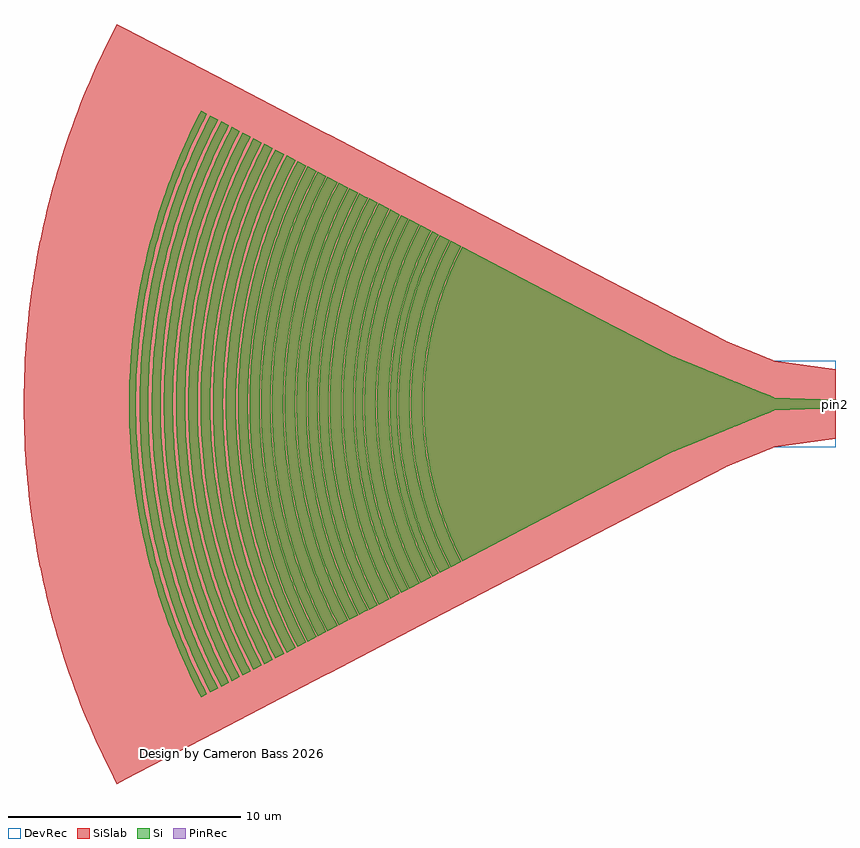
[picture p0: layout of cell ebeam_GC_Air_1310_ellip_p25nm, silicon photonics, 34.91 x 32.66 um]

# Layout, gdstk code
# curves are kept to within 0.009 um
import gdstk
lib = gdstk.Library(unit=1e-6, precision=1e-09)
def P(c, l, *ps):  # polygons
    for p in ps: c.add(gdstk.Polygon(p, *l))
Si = (1, 0)
PinRec = (1, 10)
SiSlab = (2, 0)
DevRec = (68, 0)

ebeam_gc_air_1310_ellip_ = lib.new_cell('ebeam_GC_Air_1310_ellip_p25nm')
P(ebeam_gc_air_1310_ellip_, Si, [(-16.059,-6.75),(-16.433,-5.979),(-16.807,-5.062),(-17.037,-4.392),(-17.302,-3.437),(-17.479,-2.605),(-17.606,-1.766),(-17.684,-0.92),(-17.712,-0.071),(-17.684,0.92),(-17.606,1.766),(-17.479,2.606),(-17.302,3.437),(-17.037,4.392),(-16.807,5.062),(-16.433,5.979),(-16.059,6.75),(-7.112,2.092),(-2.648,0.275),(0,0.175),(0,-0.175),(-2.657,-0.277),(-2.836,-0.36),(-3.189,-0.492),(-7.112,-2.092)],
  [(-16.551,-7.005),(-16.936,-6.209),(-17.273,-5.394),(-17.563,-4.56),(-17.803,-3.712),(-17.995,-2.851),(-18.135,-1.979),(-18.234,-0.956),(-18.264,-0.073),(-18.243,0.808),(-18.153,1.834),(-18.022,2.706),(-17.838,3.569),(-17.729,3.997),(-17.563,4.56),(-17.273,5.394),(-16.936,6.209),(-16.551,7.006),(-16.103,6.773),(-16.478,6),(-16.805,5.212),(-17.084,4.407),(-17.317,3.587),(-17.446,3.034),(-17.527,2.615),(-17.655,1.772),(-17.742,0.781),(-17.762,0.071),(-17.742,-0.781),(-17.655,-1.772),(-17.527,-2.615),(-17.351,-3.449),(-17.084,-4.408),(-16.805,-5.212),(-16.478,-6),(-16.103,-6.773)],
  [(-17.032,-7.256),(-17.43,-6.433),(-17.779,-5.589),(-18.079,-4.725),(-18.328,-3.846),(-18.526,-2.954),(-18.671,-2.051),(-18.764,-1.142),(-18.791,-0.685),(-18.805,-0.076),(-18.783,0.837),(-18.708,1.749),(-18.629,2.353),(-18.554,2.803),(-18.364,3.698),(-18.21,4.288),(-18.079,4.725),(-17.779,5.589),(-17.43,6.433),(-17.032,7.256),(-16.594,7.029),(-16.795,6.631),(-17.041,6.095),(-17.372,5.274),(-17.654,4.435),(-17.888,3.581),(-18.07,2.715),(-18.203,1.84),(-18.284,0.958),(-18.314,0.074),(-18.293,-0.81),(-18.203,-1.84),(-18.07,-2.716),(-17.888,-3.581),(-17.654,-4.435),(-17.372,-5.274),(-17.041,-6.095),(-16.594,-7.029)],
  [(-17.352,-7.423),(-17.759,-6.581),(-18.116,-5.718),(-18.423,-4.835),(-18.678,-3.935),(-18.881,-3.022),(-18.962,-2.561),(-19.049,-1.944),(-19.135,-1.013),(-19.166,-0.078),(-19.162,0.39),(-19.135,1.013),(-19.049,1.944),(-18.909,2.868),(-18.715,3.784),(-18.469,4.685),(-18.171,5.572),(-18.003,6.008),(-17.759,6.582),(-17.352,7.423),(-17.076,7.279),(-17.282,6.869),(-17.537,6.314),(-17.771,5.75),(-17.931,5.321),(-18.08,4.886),(-18.299,4.154),(-18.449,3.561),(-18.546,3.113),(-18.678,2.36),(-18.774,1.602),(-18.833,0.841),(-18.855,0.077),(-18.84,-0.688),(-18.789,-1.45),(-18.678,-2.36),(-18.546,-3.113),(-18.449,-3.561),(-18.299,-4.153),(-18.172,-4.594),(-17.982,-5.176),(-17.771,-5.749),(-17.537,-6.314),(-17.076,-7.279)],
  [(-17.848,-7.681),(-18.064,-7.25),(-18.333,-6.664),(-18.694,-5.767),(-19.003,-4.849),(-19.257,-3.916),(-19.458,-2.968),(-19.602,-2.012),(-19.691,-1.048),(-19.724,-0.08),(-19.7,0.887),(-19.621,1.852),(-19.486,2.81),(-19.397,3.286),(-19.257,3.916),(-19.003,4.849),(-18.694,5.767),(-18.52,6.218),(-18.268,6.812),(-17.848,7.681),(-17.396,7.446),(-17.804,6.603),(-18.163,5.736),(-18.471,4.849),(-18.727,3.948),(-18.868,3.338),(-18.958,2.877),(-19.098,1.95),(-19.162,1.328),(-19.194,0.859),(-19.216,0.078),(-19.194,-0.859),(-19.162,-1.328),(-19.098,-1.95),(-18.958,-2.877),(-18.764,-3.795),(-18.517,-4.701),(-18.374,-5.147),(-18.163,-5.736),(-17.804,-6.603),(-17.396,-7.446)],
  [(-18.328,-7.931),(-18.762,-7.033),(-19.143,-6.11),(-19.315,-5.641),(-19.521,-5.007),(-19.783,-4.043),(-19.99,-3.066),(-20.14,-2.077),(-20.231,-1.083),(-20.265,-0.083),(-20.241,0.916),(-20.159,1.912),(-20.019,2.901),(-19.822,3.882),(-19.568,4.848),(-19.259,5.798),(-19.022,6.42),(-18.829,6.882),(-18.623,7.337),(-18.328,7.931),(-17.893,7.705),(-18.315,6.833),(-18.568,6.238),(-18.743,5.784),(-19.052,4.865),(-19.308,3.928),(-19.508,2.977),(-19.653,2.018),(-19.743,1.051),(-19.776,0.081),(-19.752,-0.89),(-19.672,-1.857),(-19.536,-2.819),(-19.448,-3.296),(-19.308,-3.927),(-19.052,-4.864),(-18.743,-5.784),(-18.568,-6.237),(-18.315,-6.833),(-17.893,-7.705)],
  [(-18.69,-8.119),(-19.134,-7.2),(-19.525,-6.255),(-19.861,-5.289),(-20.053,-4.635),(-20.18,-4.139),(-20.392,-3.139),(-20.545,-2.126),(-20.639,-1.108),(-20.673,-0.085),(-20.649,0.937),(-20.565,1.958),(-20.422,2.97),(-20.328,3.473),(-20.18,4.139),(-20.053,4.635),(-19.861,5.288),(-19.525,6.255),(-19.134,7.2),(-18.69,8.119),(-18.372,7.955),(-18.808,7.055),(-19.191,6.129),(-19.52,5.181),(-19.793,4.218),(-19.978,3.403),(-20.069,2.91),(-20.169,2.25),(-20.271,1.252),(-20.3,0.752),(-20.316,0.084),(-20.292,-0.919),(-20.227,-1.751),(-20.122,-2.58),(-19.978,-3.403),(-19.872,-3.892),(-19.708,-4.54),(-19.52,-5.181),(-19.362,-5.658),(-19.131,-6.284),(-18.942,-6.748),(-18.597,-7.509),(-18.372,-7.954)],
  [(-19.148,-8.358),(-19.605,-7.413),(-19.88,-6.766),(-20.069,-6.276),(-20.405,-5.277),(-20.682,-4.261),(-20.9,-3.231),(-21.058,-2.189),(-21.154,-1.141),(-21.19,-0.088),(-21.18,0.615),(-21.154,1.141),(-21.058,2.189),(-20.9,3.23),(-20.682,4.261),(-20.405,5.277),(-20.069,6.276),(-19.676,7.253),(-19.459,7.732),(-19.148,8.358),(-18.735,8.143),(-19.181,7.222),(-19.449,6.592),(-19.633,6.113),(-19.96,5.141),(-20.231,4.151),(-20.442,3.147),(-20.596,2.133),(-20.69,1.111),(-20.725,0.086),(-20.7,-0.941),(-20.616,-1.963),(-20.472,-2.979),(-20.379,-3.483),(-20.231,-4.151),(-19.96,-5.141),(-19.633,-6.113),(-19.449,-6.592),(-19.181,-7.221),(-18.735,-8.143)],
  [(-19.647,-8.618),(-20.116,-7.646),(-20.531,-6.643),(-20.887,-5.617),(-21.183,-4.571),(-21.418,-3.511),(-21.591,-2.438),(-21.701,-1.357),(-21.732,-0.815),(-21.75,-0.09),(-21.724,0.995),(-21.634,2.079),(-21.483,3.154),(-21.383,3.688),(-21.226,4.396),(-20.941,5.443),(-20.717,6.132),(-20.531,6.643),(-20.116,7.646),(-19.647,8.618),(-19.193,8.382),(-19.651,7.434),(-20.056,6.458),(-20.235,5.962),(-20.454,5.292),(-20.69,4.444),(-20.884,3.586),(-21.009,2.893),(-21.086,2.371),(-21.164,1.671),(-21.205,1.143),(-21.241,0.088),(-21.236,-0.44),(-21.205,-1.143),(-21.108,-2.195),(-20.95,-3.239),(-20.732,-4.273),(-20.454,-5.292),(-20.235,-5.962),(-20.056,-6.458),(-19.651,-7.434),(-19.194,-8.382)],
  [(-20.062,-8.834),(-20.544,-7.836),(-20.969,-6.808),(-21.335,-5.755),(-21.638,-4.684),(-21.879,-3.598),(-22.056,-2.498),(-22.169,-1.391),(-22.201,-0.835),(-22.219,-0.093),(-22.192,1.02),(-22.101,2.13),(-22.031,2.683),(-21.913,3.415),(-21.682,4.505),(-21.494,5.223),(-21.335,5.755),(-20.969,6.808),(-20.544,7.836),(-20.062,8.834),(-19.695,8.643),(-20.166,7.668),(-20.583,6.661),(-20.94,5.632),(-21.237,4.584),(-21.472,3.52),(-21.566,2.984),(-21.668,2.265),(-21.768,1.179),(-21.805,0.091),(-21.779,-0.998),(-21.742,-1.542),(-21.668,-2.264),(-21.505,-3.341),(-21.28,-4.407),(-20.993,-5.459),(-20.647,-6.491),(-20.24,-7.501),(-19.937,-8.161),(-19.695,-8.643)],
  [(-20.482,-9.053),(-20.977,-8.029),(-21.413,-6.975),(-21.787,-5.897),(-21.951,-5.351),(-22.143,-4.615),(-22.309,-3.873),(-22.413,-3.312),(-22.572,-2.183),(-22.666,-1.045),(-22.694,0.095),(-22.655,1.236),(-22.55,2.371),(-22.38,3.499),(-22.229,4.245),(-22.098,4.8),(-21.787,5.898),(-21.413,6.975),(-20.977,8.029),(-20.737,8.546),(-20.481,9.053),(-20.107,8.858),(-20.591,7.857),(-21.018,6.826),(-21.208,6.301),(-21.438,5.594),(-21.733,4.516),(-21.963,3.424),(-22.13,2.321),(-22.232,1.208),(-22.26,0.651),(-22.27,0.093),(-22.243,-1.023),(-22.189,-1.766),(-22.13,-2.32),(-21.963,-3.424),(-21.733,-4.516),(-21.593,-5.057),(-21.383,-5.772),(-21.018,-6.825),(-20.591,-7.857),(-20.107,-8.858)],
  [(-20.917,-9.279),(-21.425,-8.227),(-21.871,-7.148),(-22.072,-6.598),(-22.255,-6.044),(-22.574,-4.919),(-22.708,-4.349),(-22.863,-3.586),(-23.038,-2.43),(-23.145,-1.266),(-23.184,-0.097),(-23.179,0.488),(-23.145,1.265),(-23.038,2.43),(-22.863,3.586),(-22.62,4.73),(-22.313,5.857),(-21.94,6.966),(-21.504,8.05),(-21.178,8.758),(-20.917,9.279),(-20.531,9.078),(-21.028,8.05),(-21.466,6.993),(-21.841,5.912),(-22.005,5.365),(-22.199,4.627),(-22.435,3.508),(-22.606,2.378),(-22.711,1.238),(-22.75,0.096),(-22.739,-0.667),(-22.711,-1.238),(-22.606,-2.377),(-22.435,-3.508),(-22.199,-4.627),(-22.005,-5.365),(-21.841,-5.912),(-21.466,-6.993),(-21.028,-8.05),(-20.531,-9.078)],
  [(-21.368,-9.514),(-21.888,-8.437),(-22.346,-7.33),(-22.552,-6.766),(-22.74,-6.198),(-22.965,-5.431),(-23.114,-4.85),(-23.363,-3.677),(-23.542,-2.492),(-23.652,-1.298),(-23.692,-0.1),(-23.687,0.5),(-23.652,1.299),(-23.542,2.492),(-23.363,3.677),(-23.114,4.85),(-22.965,5.431),(-22.74,6.198),(-22.552,6.766),(-22.346,7.33),(-21.888,8.437),(-21.368,9.514),(-20.961,9.302),(-21.224,8.78),(-21.471,8.249),(-21.92,7.166),(-22.304,6.058),(-22.472,5.497),(-22.67,4.741),(-22.8,4.17),(-22.912,3.594),(-23.088,2.436),(-23.195,1.269),(-23.224,0.684),(-23.235,0.098),(-23.23,-0.488),(-23.207,-1.073),(-23.15,-1.854),(-23.088,-2.436),(-22.912,-3.595),(-22.8,-4.17),(-22.67,-4.741),(-22.472,-5.497),(-22.304,-6.058),(-21.92,-7.165),(-21.471,-8.249),(-20.961,-9.302)],
  [(-21.856,-9.767),(-22.129,-9.223),(-22.388,-8.664),(-22.632,-8.1),(-22.858,-7.527),(-23.069,-6.949),(-23.263,-6.365),(-23.598,-5.18),(-23.783,-4.38),(-23.902,-3.776),(-24.003,-3.169),(-24.086,-2.559),(-24.199,-1.333),(-24.229,-0.718),(-24.24,-0.102),(-24.211,1.128),(-24.11,2.356),(-24.003,3.169),(-23.902,3.776),(-23.647,4.981),(-23.494,5.578),(-23.323,6.168),(-23.136,6.755),(-22.93,7.336),(-22.632,8.1),(-22.388,8.665),(-22.129,9.223),(-21.856,9.768),(-21.412,9.537),(-21.681,9.003),(-21.934,8.458),(-22.394,7.348),(-22.788,6.212),(-23.116,5.057),(-23.255,4.471),(-23.375,3.883),(-23.567,2.697),(-23.689,1.501),(-23.724,0.901),(-23.743,0.1),(-23.714,-1.102),(-23.656,-1.901),(-23.592,-2.498),(-23.412,-3.686),(-23.297,-4.276),(-23.164,-4.862),(-23.014,-5.443),(-22.788,-6.213),(-22.394,-7.348),(-21.934,-8.458),(-21.412,-9.537)],
  [(-22.27,-9.983),(-22.549,-9.426),(-22.814,-8.855),(-23.063,-8.278),(-23.295,-7.693),(-23.51,-7.102),(-23.708,-6.505),(-23.888,-5.902),(-24.101,-5.091),(-24.361,-3.86),(-24.464,-3.239),(-24.549,-2.615),(-24.665,-1.363),(-24.707,-0.105),(-24.677,1.153),(-24.574,2.407),(-24.495,3.032),(-24.398,3.653),(-24.283,4.272),(-24.101,5.091),(-23.77,6.304),(-23.578,6.904),(-23.295,7.693),(-23.063,8.279),(-22.814,8.856),(-22.549,9.426),(-22.27,9.983),(-21.9,9.791),(-22.174,9.245),(-22.517,8.498),(-22.832,7.738),(-23.048,7.16),(-23.248,6.576),(-23.487,5.789),(-23.647,5.193),(-23.833,4.391),(-24.052,3.176),(-24.181,2.156),(-24.261,1.131),(-24.291,0.103),(-24.285,-0.515),(-24.261,-1.131),(-24.181,-2.157),(-24.052,-3.176),(-23.833,-4.391),(-23.647,-5.193),(-23.487,-5.788),(-23.248,-6.575),(-23.048,-7.16),(-22.756,-7.929),(-22.517,-8.497),(-22.262,-9.059),(-21.9,-9.791)],
  [(-22.704,-10.209),(-22.991,-9.638),(-23.262,-9.054),(-23.517,-8.464),(-23.754,-7.866),(-23.974,-7.261),(-24.176,-6.651),(-24.418,-5.828),(-24.578,-5.205),(-24.72,-4.577),(-24.844,-3.947),(-24.95,-3.312),(-25.037,-2.674),(-25.105,-2.034),(-25.155,-1.393),(-25.186,-0.751),(-25.198,-0.107),(-25.192,0.536),(-25.167,1.179),(-25.124,1.821),(-25.062,2.461),(-24.981,3.099),(-24.882,3.735),(-24.764,4.368),(-24.578,5.205),(-24.418,5.828),(-24.239,6.446),(-24.043,7.059),(-23.829,7.666),(-23.598,8.265),(-23.349,8.859),(-22.991,9.638),(-22.704,10.209),(-22.317,10.008),(-22.598,9.449),(-22.864,8.878),(-23.114,8.298),(-23.346,7.712),(-23.76,6.52),(-24.104,5.307),(-24.249,4.694),(-24.376,4.075),(-24.577,2.831),(-24.65,2.204),(-24.705,1.575),(-24.742,0.946),(-24.762,0.105),(-24.742,-0.946),(-24.65,-2.204),(-24.518,-3.246),(-24.294,-4.488),(-24.104,-5.307),(-23.94,-5.916),(-23.76,-6.52),(-23.491,-7.318),(-23.271,-7.908),(-22.949,-8.685),(-22.688,-9.259),(-22.317,-10.008)],
  [(-23.136,-10.434),(-23.527,-9.648),(-23.709,-9.249),(-23.969,-8.646),(-24.212,-8.035),(-24.437,-7.417),(-24.644,-6.793),(-24.832,-6.164),(-25.002,-5.529),(-25.287,-4.247),(-25.401,-3.599),(-25.496,-2.949),(-25.572,-2.297),(-25.644,-1.423),(-25.676,-0.767),(-25.688,-0.109),(-25.682,0.547),(-25.657,1.204),(-25.612,1.86),(-25.549,2.514),(-25.466,3.166),(-25.327,4.031),(-25.245,4.462),(-25.054,5.317),(-24.89,5.953),(-24.708,6.584),(-24.508,7.211),(-24.289,7.831),(-24.052,8.443),(-23.798,9.049),(-23.527,9.648),(-23.136,10.434),(-22.765,10.242),(-23.054,9.666),(-23.499,8.687),(-23.743,8.09),(-23.968,7.486),(-24.243,6.67),(-24.428,6.052),(-24.647,5.22),(-24.79,4.591),(-24.986,3.534),(-25.079,2.896),(-25.154,2.254),(-25.237,1.183),(-25.269,0.108),(-25.248,-0.968),(-25.154,-2.255),(-24.986,-3.534),(-24.79,-4.591),(-24.647,-5.22),(-24.428,-6.052),(-24.243,-6.67),(-23.968,-7.486),(-23.743,-8.09),(-23.413,-8.884),(-23.146,-9.471),(-22.765,-10.241)],
  [(-23.605,-10.679),(-24.008,-9.868),(-24.195,-9.461),(-24.461,-8.844),(-24.709,-8.219),(-24.94,-7.587),(-25.151,-6.95),(-25.344,-6.305),(-25.518,-5.656),(-25.673,-5.001),(-25.809,-4.344),(-25.961,-3.46),(-26.052,-2.794),(-26.123,-2.125),(-26.175,-1.456),(-26.208,-0.784),(-26.221,-0.112),(-26.214,0.561),(-26.188,1.232),(-26.143,1.903),(-26.078,2.572),(-25.993,3.238),(-25.889,3.903),(-25.766,4.564),(-25.571,5.439),(-25.404,6.089),(-25.217,6.735),(-25.012,7.376),(-24.788,8.01),(-24.546,8.636),(-24.286,9.256),(-24.008,9.869),(-23.605,10.679),(-23.223,10.48),(-23.522,9.886),(-23.8,9.288),(-24.062,8.682),(-24.383,7.863),(-24.602,7.241),(-24.867,6.402),(-25.099,5.553),(-25.298,4.696),(-25.499,3.614),(-25.648,2.524),(-25.711,1.868),(-25.756,1.21),(-25.788,0.11),(-25.767,-0.99),(-25.729,-1.648),(-25.671,-2.306),(-25.533,-3.397),(-25.298,-4.696),(-25.152,-5.339),(-24.928,-6.19),(-24.738,-6.823),(-24.457,-7.656),(-24.145,-8.479),(-23.889,-9.087),(-23.522,-9.886),(-23.223,-10.48)],
  [(-24.088,-10.93),(-24.403,-10.302),(-24.694,-9.678),(-24.967,-9.047),(-25.221,-8.408),(-25.457,-7.762),(-25.673,-7.109),(-25.87,-6.45),(-26.048,-5.786),(-26.207,-5.116),(-26.347,-4.444),(-26.502,-3.54),(-26.595,-2.858),(-26.668,-2.174),(-26.721,-1.489),(-26.755,-0.802),(-26.768,-0.114),(-26.761,0.574),(-26.735,1.26),(-26.688,1.946),(-26.595,2.859),(-26.502,3.54),(-26.389,4.218),(-26.303,4.669),(-26.103,5.564),(-25.932,6.23),(-25.741,6.89),(-25.457,7.762),(-25.221,8.408),(-24.967,9.048),(-24.694,9.678),(-24.404,10.302),(-24.088,10.93),(-23.711,10.734),(-24.02,10.12),(-24.396,9.302),(-24.742,8.47),(-24.979,7.837),(-25.266,6.983),(-25.46,6.336),(-25.69,5.465),(-25.839,4.807),(-26.045,3.7),(-26.198,2.584),(-26.296,1.462),(-26.329,0.788),(-26.342,0.113),(-26.32,-1.013),(-26.28,-1.687),(-26.222,-2.36),(-26.08,-3.477),(-25.885,-4.586),(-25.742,-5.246),(-25.521,-6.119),(-25.266,-6.984),(-24.978,-7.838),(-24.742,-8.47),(-24.396,-9.302),(-24.02,-10.12),(-23.711,-10.734)],
  [(-24.558,-11.175),(-24.883,-10.53),(-25.18,-9.892),(-25.459,-9.247),(-25.718,-8.594),(-25.96,-7.933),(-26.181,-7.267),(-26.445,-6.368),(-26.621,-5.687),(-26.825,-4.772),(-26.913,-4.311),(-27.028,-3.618),(-27.123,-2.922),(-27.198,-2.222),(-27.253,-1.522),(-27.287,-0.82),(-27.3,-0.117),(-27.287,0.82),(-27.253,1.523),(-27.198,2.223),(-27.123,2.922),(-27.028,3.618),(-26.913,4.311),(-26.825,4.772),(-26.621,5.687),(-26.445,6.368),(-26.181,7.267),(-25.96,7.933),(-25.718,8.594),(-25.459,9.248),(-25.18,9.892),(-24.883,10.53),(-24.558,11.175),(-24.192,10.985),(-24.511,10.352),(-24.897,9.515),(-25.25,8.664),(-25.493,8.016),(-25.787,7.143),(-25.985,6.482),(-26.165,5.814),(-26.373,4.917),(-26.584,3.785),(-26.74,2.643),(-26.841,1.496),(-26.874,0.806),(-26.887,0.115),(-26.865,-1.036),(-26.787,-2.185),(-26.653,-3.329),(-26.546,-4.012),(-26.42,-4.691),(-26.22,-5.59),(-26.047,-6.259),(-25.855,-6.924),(-25.569,-7.8),(-25.25,-8.664),(-24.897,-9.515),(-24.61,-10.144),(-24.192,-10.985)],
  [(-25.031,-11.421),(-25.363,-10.76),(-25.668,-10.109),(-25.952,-9.45),(-26.218,-8.782),(-26.464,-8.107),(-26.69,-7.426),(-26.897,-6.737),(-27.083,-6.043),(-27.248,-5.345),(-27.395,-4.641),(-27.519,-3.934),(-27.624,-3.223),(-27.707,-2.51),(-27.77,-1.794),(-27.821,-0.838),(-27.835,-0.12),(-27.828,0.599),(-27.8,1.316),(-27.751,2.033),(-27.682,2.748),(-27.591,3.46),(-27.439,4.405),(-27.299,5.111),(-27.14,5.811),(-26.961,6.506),(-26.761,7.197),(-26.542,7.881),(-26.218,8.782),(-25.952,9.45),(-25.668,10.109),(-25.363,10.76),(-25.031,11.421),(-24.672,11.235),(-25,10.585),(-25.394,9.729),(-25.668,9.078),(-26.003,8.198),(-26.232,7.529),(-26.507,6.628),(-26.691,5.945),(-26.904,5.028),(-27.119,3.87),(-27.279,2.703),(-27.348,2),(-27.396,1.295),(-27.43,0.118),(-27.423,-0.588),(-27.396,-1.295),(-27.304,-2.469),(-27.156,-3.637),(-27.04,-4.334),(-26.904,-5.028),(-26.691,-5.945),(-26.507,-6.627),(-26.304,-7.305),(-26.003,-8.198),(-25.668,-9.078),(-25.394,-9.729),(-24.999,-10.585),(-24.672,-11.234)],
  [(-25.493,-11.661),(-25.833,-10.986),(-26.143,-10.321),(-26.433,-9.648),(-26.704,-8.966),(-26.956,-8.277),(-27.187,-7.582),(-27.398,-6.879),(-27.588,-6.17),(-27.809,-5.218),(-27.951,-4.499),(-28.072,-3.775),(-28.171,-3.048),(-28.249,-2.319),(-28.306,-1.588),(-28.341,-0.856),(-28.356,-0.122),(-28.341,0.856),(-28.306,1.588),(-28.249,2.319),(-28.171,3.048),(-28.072,3.775),(-27.951,4.498),(-27.809,5.218),(-27.646,5.933),(-27.463,6.644),(-27.26,7.347),(-27.036,8.046),(-26.704,8.967),(-26.433,9.648),(-26.143,10.321),(-25.832,10.986),(-25.493,11.661),(-25.146,11.481),(-25.481,10.816),(-25.884,9.942),(-26.254,9.053),(-26.507,8.377),(-26.815,7.464),(-27.022,6.773),(-27.268,5.842),(-27.428,5.138),(-27.648,3.955),(-27.753,3.24),(-27.837,2.523),(-27.93,1.324),(-27.965,0.121),(-27.942,-1.083),(-27.9,-1.803),(-27.837,-2.522),(-27.753,-3.24),(-27.648,-3.954),(-27.428,-5.137),(-27.21,-6.075),(-27.022,-6.772),(-26.815,-7.464),(-26.507,-8.377),(-26.254,-9.053),(-25.884,-9.942),(-25.585,-10.599),(-25.146,-11.481)],
  [(-25.958,-11.903),(-26.304,-11.214),(-26.622,-10.535),(-26.918,-9.849),(-27.195,-9.153),(-27.452,-8.449),(-27.688,-7.739),(-27.903,-7.022),(-28.097,-6.298),(-28.269,-5.571),(-28.468,-4.591),(-28.59,-3.853),(-28.692,-3.111),(-28.772,-2.367),(-28.83,-1.621),(-28.866,-0.873),(-28.88,-0.125),(-28.866,0.873),(-28.83,1.621),(-28.772,2.367),(-28.692,3.112),(-28.59,3.854),(-28.468,4.591),(-28.374,5.082),(-28.156,6.056),(-27.97,6.782),(-27.762,7.5),(-27.533,8.213),(-27.283,8.919),(-27.013,9.617),(-26.622,10.535),(-26.305,11.214),(-25.958,11.904),(-25.616,11.726),(-25.959,11.047),(-26.27,10.379),(-26.563,9.701),(-26.923,8.786),(-27.245,7.857),(-27.533,6.917),(-27.724,6.205),(-27.947,5.247),(-28.171,4.039),(-28.338,2.821),(-28.41,2.087),(-28.46,1.351),(-28.496,0.123),(-28.472,-1.106),(-28.429,-1.842),(-28.364,-2.577),(-28.209,-3.795),(-28.088,-4.523),(-27.947,-5.247),(-27.724,-6.204),(-27.533,-6.916),(-27.245,-7.857),(-27.006,-8.555),(-26.656,-9.474),(-26.37,-10.153),(-25.959,-11.046),(-25.616,-11.726)],
  [(-26.417,-12.142),(-26.77,-11.439),(-27.094,-10.747),(-27.396,-10.046),(-27.678,-9.336),(-27.941,-8.618),(-28.181,-7.894),(-28.4,-7.162),(-28.598,-6.425),(-28.774,-5.682),(-28.93,-4.934),(-29.063,-4.182),(-29.173,-3.426),(-29.262,-2.668),(-29.329,-1.907),(-29.383,-0.891),(-29.398,-0.127),(-29.39,0.636),(-29.361,1.399),(-29.309,2.161),(-29.235,2.922),(-29.102,3.931),(-28.977,4.683),(-28.881,5.184),(-28.659,6.178),(-28.469,6.918),(-28.257,7.651),(-28.023,8.378),(-27.768,9.098),(-27.493,9.81),(-27.094,10.747),(-26.771,11.439),(-26.417,12.142),(-26.085,11.97),(-26.435,11.277),(-26.753,10.595),(-27.052,9.903),(-27.419,8.969),(-27.748,8.021),(-27.972,7.302),(-28.237,6.334),(-28.411,5.601),(-28.563,4.864),(-28.694,4.123),(-28.864,2.88),(-28.974,1.63),(-29.01,0.878),(-29.025,0.126),(-29.017,-0.628),(-28.988,-1.38),(-28.891,-2.63),(-28.803,-3.378),(-28.694,-4.123),(-28.464,-5.356),(-28.237,-6.334),(-28.042,-7.06),(-27.825,-7.782),(-27.504,-8.733),(-27.24,-9.438),(-26.855,-10.365),(-26.543,-11.05),(-26.085,-11.97)],
  [(-26.887,-12.387),(-27.353,-11.45),(-27.57,-10.977),(-27.879,-10.262),(-28.258,-9.293),(-28.518,-8.558),(-28.756,-7.815),(-28.972,-7.066),(-29.167,-6.31),(-29.339,-5.549),(-29.49,-4.785),(-29.618,-4.015),(-29.724,-3.242),(-29.806,-2.466),(-29.867,-1.689),(-29.905,-0.91),(-29.92,-0.13),(-29.905,0.91),(-29.867,1.689),(-29.806,2.466),(-29.724,3.242),(-29.618,4.015),(-29.49,4.784),(-29.339,5.55),(-29.167,6.31),(-28.972,7.065),(-28.756,7.815),(-28.518,8.558),(-28.258,9.294),(-27.879,10.262),(-27.57,10.977),(-27.24,11.685),(-26.887,12.388),(-26.552,12.214),(-26.909,11.506),(-27.338,10.576),(-27.731,9.63),(-28,8.911),(-28.328,7.94),(-28.548,7.204),(-28.748,6.463),(-28.98,5.465),(-29.214,4.207),(-29.388,2.938),(-29.462,2.174),(-29.514,1.408),(-29.552,0.128),(-29.527,-1.152),(-29.482,-1.918),(-29.415,-2.684),(-29.254,-3.953),(-29.127,-4.712),(-28.98,-5.465),(-28.748,-6.462),(-28.548,-7.204),(-28.328,-7.94),(-28,-8.911),(-27.731,-9.63),(-27.338,-10.576),(-27.019,-11.275),(-26.552,-12.213)],
  [(-27.285,-12.595),(-27.766,-11.627),(-27.987,-11.146),(-28.3,-10.42),(-28.592,-9.683),(-28.85,-8.98),(-29.113,-8.188),(-29.34,-7.429),(-29.545,-6.664),(-29.727,-5.894),(-29.888,-5.118),(-30.026,-4.337),(-30.141,-3.554),(-30.258,-2.504),(-30.314,-1.796),(-30.358,-0.924),(-30.373,-0.132),(-30.365,0.659),(-30.335,1.451),(-30.281,2.242),(-30.174,3.292),(-30.067,4.077),(-29.937,4.859),(-29.783,5.635),(-29.608,6.408),(-29.411,7.175),(-29.191,7.935),(-28.95,8.69),(-28.685,9.437),(-28.4,10.175),(-27.987,11.147),(-27.651,11.865),(-27.285,12.595),(-27.031,12.463),(-27.387,11.755),(-27.718,11.045),(-28.128,10.082),(-28.411,9.349),(-28.672,8.61),(-28.987,7.612),(-29.198,6.856),(-29.444,5.839),(-29.602,5.07),(-29.738,4.298),(-29.915,3.002),(-30.03,1.699),(-30.068,0.915),(-30.083,0.131),(-30.058,-1.177),(-30.012,-1.96),(-29.943,-2.742),(-29.852,-3.521),(-29.738,-4.298),(-29.602,-5.07),(-29.444,-5.838),(-29.198,-6.856),(-28.987,-7.612),(-28.672,-8.61),(-28.411,-9.349),(-28.128,-10.082),(-27.824,-10.805),(-27.499,-11.519),(-27.031,-12.463)])
P(ebeam_gc_air_1310_ellip_, SiSlab, [(-30.904,-16.329),(-31.366,-15.41),(-31.801,-14.477),(-32.208,-13.533),(-32.588,-12.577),(-32.94,-11.61),(-33.264,-10.634),(-33.559,-9.648),(-33.825,-8.655),(-34.062,-7.654),(-34.27,-6.647),(-34.449,-5.634),(-34.598,-4.616),(-34.717,-3.594),(-34.807,-2.569),(-34.867,-1.543),(-34.9,-0.171),(-34.89,0.857),(-34.85,1.885),(-34.781,2.912),(-34.681,3.935),(-34.552,4.956),(-34.393,5.972),(-34.135,7.319),(-33.907,8.322),(-33.651,9.318),(-33.365,10.307),(-33.051,11.286),(-32.709,12.256),(-32.338,13.216),(-31.94,14.164),(-31.366,15.41),(-30.904,16.329),(-4.744,2.708),(-2.65,1.855),(0,1.5),(0,-1.5),(-2.65,-1.855),(-4.728,-2.7)])
P(ebeam_gc_air_1310_ellip_, DevRec, [(-30.904,-16.329),(-31.366,-15.41),(-31.801,-14.477),(-32.208,-13.533),(-32.588,-12.577),(-32.94,-11.61),(-33.264,-10.634),(-33.559,-9.648),(-33.825,-8.655),(-34.062,-7.654),(-34.27,-6.647),(-34.449,-5.634),(-34.598,-4.616),(-34.717,-3.594),(-34.807,-2.569),(-34.867,-1.543),(-34.9,-0.171),(-34.89,0.857),(-34.85,1.885),(-34.781,2.912),(-34.681,3.935),(-34.552,4.956),(-34.393,5.972),(-34.135,7.319),(-33.907,8.322),(-33.651,9.318),(-33.365,10.307),(-33.051,11.286),(-32.709,12.256),(-32.338,13.216),(-31.94,14.164),(-31.366,15.41),(-30.904,16.329),(-4.744,2.708),(-2.65,1.855),(0,1.855),(0,-1.855),(-2.65,-1.855),(-4.728,-2.7)])
ebeam_gc_air_1310_ellip_.add(gdstk.FlexPath([(-0.01,0),(0.01,0)], 0.35, ends="flush", simple_path=True, layer=1, datatype=10))  # PinRec
ebeam_gc_air_1310_ellip_.add(gdstk.Label('pin2', (0,0), layer=1, texttype=10))
ebeam_gc_air_1310_ellip_.add(gdstk.Label('Design by Cameron Bass 2026', (-25.94,-15.02), layer=10, texttype=0))

lib.write_gds('ebeam_GC_Air_1310_ellip_p25nm.gds')
